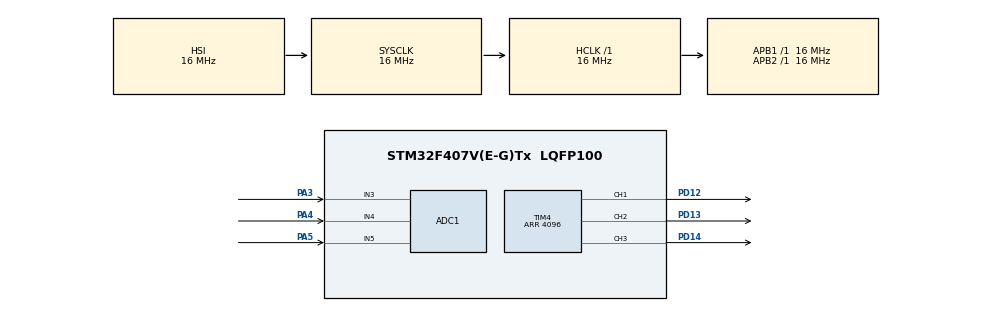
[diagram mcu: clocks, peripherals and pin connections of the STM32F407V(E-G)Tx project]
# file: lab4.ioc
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ADC1.Channel-0\#ChannelRegularConversion=ADC_CHANNEL_3
ADC1.ClockPrescaler=ADC_CLOCK_SYNC_PCLK_DIV8
ADC1.NbrOfConversionFlag=1
ADC1.Rank-0\#ChannelRegularConversion=1
ADC1.SamplingTime-0\#ChannelRegularConversion=ADC_SAMPLETIME_480CYCLES
ADC1.master=1
Mcu.Family=STM32F4
Mcu.Name=STM32F407V(E-G)Tx
Mcu.Package=LQFP100
NVIC.ADC_IRQn=true\:0\:0\:false\:false\:true\:true\:true\:true
NVIC.PriorityGroup=NVIC_PRIORITYGROUP_4
PA3.Signal=ADCx_IN3
PA4.Signal=ADCx_IN4
PA5.Signal=ADCx_IN5
PD12.Signal=S_TIM4_CH1
PD13.Signal=S_TIM4_CH2
PD14.Signal=S_TIM4_CH3
ProjectManager.HeapSize=0x200
ProjectManager.StackSize=0x400
ProjectManager.TargetToolchain=STM32CubeIDE
RCC.AHBFreq_Value=16000000
RCC.APB1Freq_Value=16000000
RCC.APB2Freq_Value=16000000
RCC.CortexFreq_Value=16000000
RCC.HSE_VALUE=25000000
RCC.HSI_VALUE=16000000
RCC.LSE_VALUE=32768
RCC.SYSCLKFreq_VALUE=16000000
RCC.VCOOutputFreq_Value=192000000
SH.ADCx_IN3.0=ADC1_IN3,IN3
SH.ADCx_IN4.0=ADC1_IN4,IN4
SH.ADCx_IN5.0=ADC1_IN5,IN5
SH.S_TIM4_CH1.0=TIM4_CH1,PWM Generation1 CH1
SH.S_TIM4_CH2.0=TIM4_CH2,PWM Generation2 CH2
SH.S_TIM4_CH3.0=TIM4_CH3,PWM Generation3 CH3
TIM4.Channel-PWM\ Generation1\ CH1=TIM_CHANNEL_1
TIM4.Channel-PWM\ Generation2\ CH2=TIM_CHANNEL_2
TIM4.Channel-PWM\ Generation3\ CH3=TIM_CHANNEL_3
TIM4.Period=4096
VP_TIM4_VS_ClockSourceINT.Mode=Internal
board=custom

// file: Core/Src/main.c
/* USER CODE BEGIN Header */
/**
  ******************************************************************************
  * @file           : main.c
  * @brief          : Main program body
  ******************************************************************************
  * @attention
  *
  * Copyright (c) 2024 STMicroelectronics.
  * All rights reserved.
  *
  * This software is licensed under terms that can be found in the LICENSE file
  * in the root directory of this software component.
  * If no LICENSE file comes with this software, it is provided AS-IS.
  *
  ******************************************************************************
  */
/* USER CODE END Header */
#include "main.h"

/* USER CODE BEGIN PD */
enum {
	DIRECT,
	INVERTED
};
/* USER CODE END PD */

ADC_HandleTypeDef hadc1;

TIM_HandleTypeDef htim4;

void SystemClock_Config(void);
static void MX_GPIO_Init(void);
static void MX_ADC1_Init(void);
static void MX_TIM4_Init(void);

/* USER CODE BEGIN 0 */
static unsigned int electro_optical_converter(unsigned int value)
{
	for (int i = 0; i < 2; i++) {
		value *= value;
		value >>= 16;
	}
	return value;
}

static void update_timing(uint32_t *addr, uint32_t adc_channel, int inverted)
{
	ADC_ChannelConfTypeDef adc_channel_config = {
			.Rank = 1,
			.SamplingTime = ADC_SAMPLETIME_480CYCLES,
			.Channel = adc_channel
	};

	HAL_ADC_ConfigChannel(&hadc1, &adc_channel_config);

	while (1) {
		HAL_ADC_Start(&hadc1);
		HAL_StatusTypeDef status = HAL_ADC_PollForConversion(&hadc1, 1);

		if (status != HAL_OK)
			continue;

		unsigned int value = HAL_ADC_GetValue(&hadc1);
		unsigned int real_value = inverted
				? 4095 - value
				: value;

		*addr = electro_optical_converter(real_value << 4);

		break;
	}
}

/* USER CODE END 0 */

int main(void)
{

  /* MCU Configuration--------------------------------------------------------*/

  /* Reset of all peripherals, Initializes the Flash interface and the Systick. */
  HAL_Init();

  /* Configure the system clock */
  SystemClock_Config();

  /* Initialize all configured peripherals */
  MX_GPIO_Init();
  MX_ADC1_Init();
  MX_TIM4_Init();
  /* USER CODE BEGIN 2 */
  HAL_TIM_PWM_Start(&htim4, TIM_CHANNEL_1);
  HAL_TIM_PWM_Start(&htim4, TIM_CHANNEL_2);
  HAL_TIM_PWM_Start(&htim4, TIM_CHANNEL_3);
  /* USER CODE END 2 */

  /* Infinite loop */
  /* USER CODE BEGIN WHILE */

  while (1)
  {
		update_timing(&(TIM4->CCR1), ADC_CHANNEL_3, DIRECT);
		update_timing(&(TIM4->CCR2), ADC_CHANNEL_4, DIRECT);
		update_timing(&(TIM4->CCR3), ADC_CHANNEL_5, INVERTED);

    /* USER CODE END WHILE */

  }
}

void SystemClock_Config(void)
{
  RCC_OscInitTypeDef RCC_OscInitStruct = {0};
  RCC_ClkInitTypeDef RCC_ClkInitStruct = {0};

  /** Configure the main internal regulator output voltage
  */
  __HAL_RCC_PWR_CLK_ENABLE();
  __HAL_PWR_VOLTAGESCALING_CONFIG(PWR_REGULATOR_VOLTAGE_SCALE1);

  /** Initializes the RCC Oscillators according to the specified parameters
  * in the RCC_OscInitTypeDef structure.
  */
  RCC_OscInitStruct.OscillatorType = RCC_OSCILLATORTYPE_HSI;
  RCC_OscInitStruct.HSIState = RCC_HSI_ON;
  RCC_OscInitStruct.HSICalibrationValue = RCC_HSICALIBRATION_DEFAULT;
  RCC_OscInitStruct.PLL.PLLState = RCC_PLL_NONE;
  if (HAL_RCC_OscConfig(&RCC_OscInitStruct) != HAL_OK)
  {
    Error_Handler();
  }

  /** Initializes the CPU, AHB and APB buses clocks
  */
  RCC_ClkInitStruct.ClockType = RCC_CLOCKTYPE_HCLK|RCC_CLOCKTYPE_SYSCLK
                              |RCC_CLOCKTYPE_PCLK1|RCC_CLOCKTYPE_PCLK2;
  RCC_ClkInitStruct.SYSCLKSource = RCC_SYSCLKSOURCE_HSI;
  RCC_ClkInitStruct.AHBCLKDivider = RCC_SYSCLK_DIV1;
  RCC_ClkInitStruct.APB1CLKDivider = RCC_HCLK_DIV1;
  RCC_ClkInitStruct.APB2CLKDivider = RCC_HCLK_DIV1;

  if (HAL_RCC_ClockConfig(&RCC_ClkInitStruct, FLASH_LATENCY_0) != HAL_OK)
  {
    Error_Handler();
  }
}

static void MX_ADC1_Init(void)
{

  ADC_ChannelConfTypeDef sConfig = {0};

  /** Configure the global features of the ADC (Clock, Resolution, Data Alignment and number of conversion)
  */
  hadc1.Instance = ADC1;
  hadc1.Init.ClockPrescaler = ADC_CLOCK_SYNC_PCLK_DIV8;
  hadc1.Init.Resolution = ADC_RESOLUTION_12B;
  hadc1.Init.ScanConvMode = DISABLE;
  hadc1.Init.ContinuousConvMode = DISABLE;
  hadc1.Init.DiscontinuousConvMode = DISABLE;
  hadc1.Init.ExternalTrigConvEdge = ADC_EXTERNALTRIGCONVEDGE_NONE;
  hadc1.Init.ExternalTrigConv = ADC_SOFTWARE_START;
  hadc1.Init.DataAlign = ADC_DATAALIGN_RIGHT;
  hadc1.Init.NbrOfConversion = 1;
  hadc1.Init.DMAContinuousRequests = DISABLE;
  hadc1.Init.EOCSelection = ADC_EOC_SINGLE_CONV;
  if (HAL_ADC_Init(&hadc1) != HAL_OK)
  {
    Error_Handler();
  }

  /** Configure for the selected ADC regular channel its corresponding rank in the sequencer and its sample time.
  */
  sConfig.Channel = ADC_CHANNEL_3;
  sConfig.Rank = 1;
  sConfig.SamplingTime = ADC_SAMPLETIME_480CYCLES;
  if (HAL_ADC_ConfigChannel(&hadc1, &sConfig) != HAL_OK)
  {
    Error_Handler();
  }

}

static void MX_TIM4_Init(void)
{

  TIM_ClockConfigTypeDef sClockSourceConfig = {0};
  TIM_MasterConfigTypeDef sMasterConfig = {0};
  TIM_OC_InitTypeDef sConfigOC = {0};

  htim4.Instance = TIM4;
  htim4.Init.Prescaler = 0;
  htim4.Init.CounterMode = TIM_COUNTERMODE_UP;
  htim4.Init.Period = 4096;
  htim4.Init.ClockDivision = TIM_CLOCKDIVISION_DIV1;
  htim4.Init.AutoReloadPreload = TIM_AUTORELOAD_PRELOAD_DISABLE;
  if (HAL_TIM_Base_Init(&htim4) != HAL_OK)
  {
    Error_Handler();
  }
  sClockSourceConfig.ClockSource = TIM_CLOCKSOURCE_INTERNAL;
  if (HAL_TIM_ConfigClockSource(&htim4, &sClockSourceConfig) != HAL_OK)
  {
    Error_Handler();
  }
  if (HAL_TIM_PWM_Init(&htim4) != HAL_OK)
  {
    Error_Handler();
  }
  sMasterConfig.MasterOutputTrigger = TIM_TRGO_RESET;
  sMasterConfig.MasterSlaveMode = TIM_MASTERSLAVEMODE_DISABLE;
  if (HAL_TIMEx_MasterConfigSynchronization(&htim4, &sMasterConfig) != HAL_OK)
  {
    Error_Handler();
  }
  sConfigOC.OCMode = TIM_OCMODE_PWM1;
  sConfigOC.Pulse = 0;
  sConfigOC.OCPolarity = TIM_OCPOLARITY_HIGH;
  sConfigOC.OCFastMode = TIM_OCFAST_DISABLE;
  if (HAL_TIM_PWM_ConfigChannel(&htim4, &sConfigOC, TIM_CHANNEL_1) != HAL_OK)
  {
    Error_Handler();
  }
  if (HAL_TIM_PWM_ConfigChannel(&htim4, &sConfigOC, TIM_CHANNEL_2) != HAL_OK)
  {
    Error_Handler();
  }
  if (HAL_TIM_PWM_ConfigChannel(&htim4, &sConfigOC, TIM_CHANNEL_3) != HAL_OK)
  {
    Error_Handler();
  }
  HAL_TIM_MspPostInit(&htim4);

}

static void MX_GPIO_Init(void)
{

  /* GPIO Ports Clock Enable */
  __HAL_RCC_GPIOA_CLK_ENABLE();
  __HAL_RCC_GPIOD_CLK_ENABLE();

}

void Error_Handler(void)
{
  __disable_irq();
  while (1)
  {
  }
}
